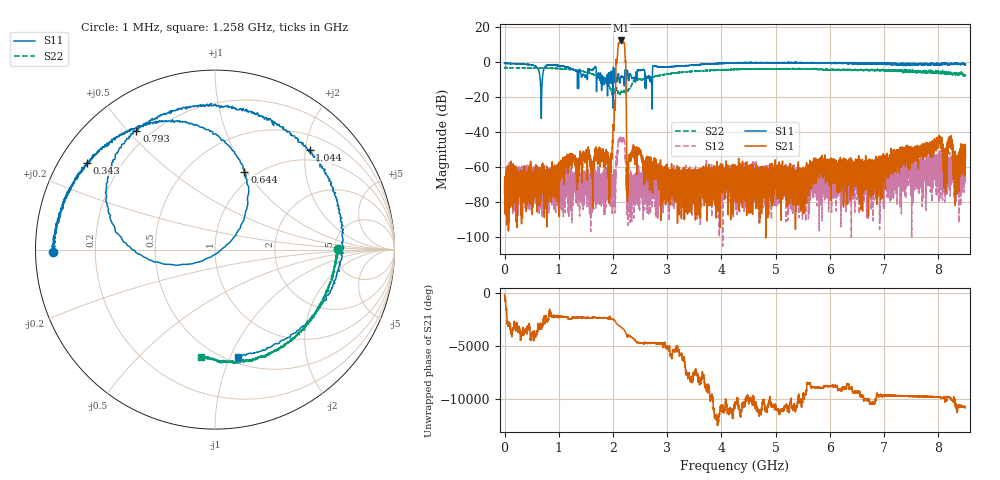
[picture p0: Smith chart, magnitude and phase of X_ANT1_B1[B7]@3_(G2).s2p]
#  HZ  S  RI  R  50.00
! Rohde & Schwarz Vector Network Analyzer
! Rohde-Schwarz,ZNBT8-20Port,1318700624101681,3.50
! Created: UTC 7/15/2025, 2:13:21 PM
! freq[Hz]  re:S1010  im:S1010  re:S0310  im:S0310  re:S1003  im:S1003  re:S33  im:S33
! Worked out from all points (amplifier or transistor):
!   8500 points, 1 MHz to 8.5 GHz, reference 50 ohm
!   highest |S21| = 12.2 dB at 2.144 GHz (marker M1)
!   |S21| within 3 dB of that: 2.095 GHz to 2.215 GHz (120.1 MHz wide, 5.57 % of centre)
!   unconditionally stable (mu >= 1): start of sweep to end of sweep
!   at 1.417 GHz: K = 506001.56, MAG = -54.9 dB, |S12| = -67.4 dB
!   at 4.251 GHz: K = 473246.54, MAG = -61.8 dB, |S12| = -68.3 dB
!   at 8.5 GHz: K = 126018.44, MAG = -49.1 dB, |S12| = -64.7 dB
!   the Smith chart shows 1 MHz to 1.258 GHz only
!   S11 on the Smith chart (normalised r, x): 1 MHz: 0.05, -0.01; 343 MHz: 0.08, +0.31; 644 MHz: 0.88, +0.98; 793 MHz: 0.15, +0.53; 1.044 GHz: 0.78, +2.09; 1.258 GHz: 0.56, -1.07
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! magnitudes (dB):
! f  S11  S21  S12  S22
! 1 MHz  -0.9  -68.4  -73.3  -3.3
! 343 MHz  -1.3  -73.1  -69.3  -3.5
! 644 MHz  -6.7  -82.4  -65.1  -3.7
! 793 MHz  -2.0  -76.6  -79.9  -3.7
! 1.044 GHz  -2.3  -65.3  -70.9  -3.9
! 1.258 GHz  -4.3  -54.3  -72.1  -4.4
! 1.418 GHz  -8.3  -58.3  -72.4  -5.3
! 1.947 GHz  -10.8  -72.4  -75.6  -15.1
! 2.088 GHz  -9.1  6.4  -49.5  -17.1
! 2.144 GHz  -8.9  12.2  -43.7  -17.8
! 2.205 GHz  -11.7  10.7  -44.8  -17.0
! 2.293 GHz  -9.9  -54.2  -69.3  -16.0
! 2.465 GHz  -4.7  -50.6  -64.0  -10.1
! 2.834 GHz  -2.9  -66.3  -70.4  -8.0
! 4.251 GHz  -0.6  -72.5  -68.3  -4.3
! 5.667 GHz  -0.4  -59.9  -65.4  -4.2
! 7.084 GHz  -1.0  -57.6  -70.7  -4.8
! 8.023 GHz  -1.2  -43.8  -59.1  -6.2
! 8.121 GHz  -1.1  -50.3  -60.2  -6.1
! 8.226 GHz  -1.2  -47.4  -59.1  -6.2
! 8.313 GHz  -1.3  -51.1  -58.8  -6.5
! 8.5 GHz  -1.7  -54.9  -64.7  -7.4
